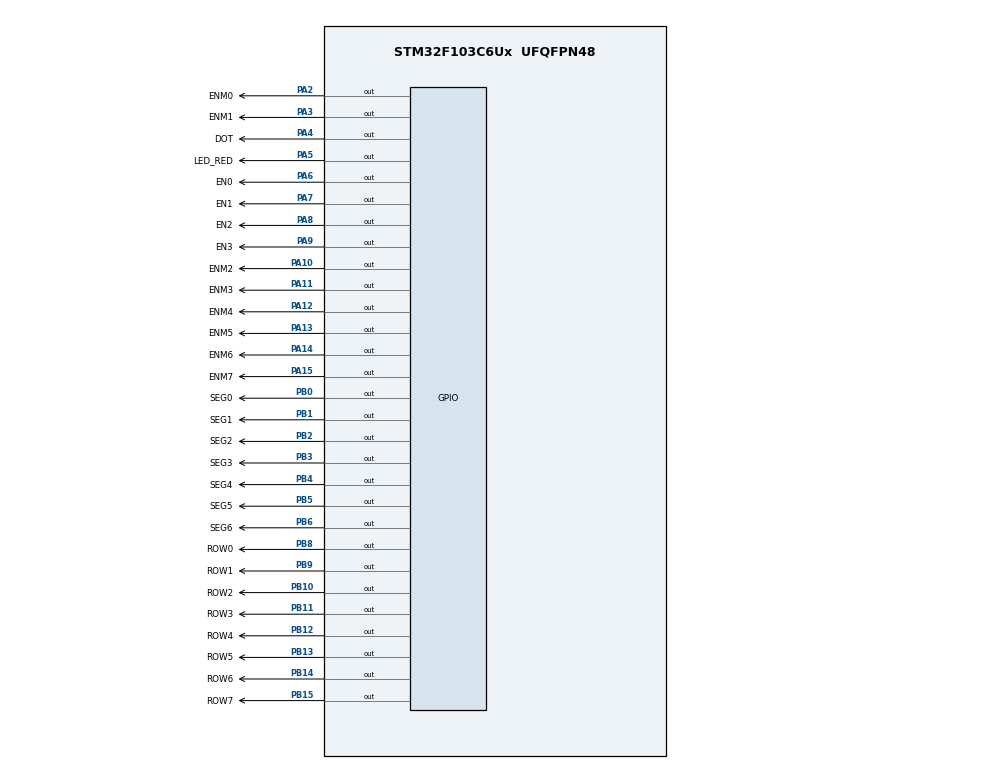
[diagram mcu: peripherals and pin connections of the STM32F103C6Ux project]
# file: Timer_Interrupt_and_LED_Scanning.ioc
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Mcu.Family=STM32F1
Mcu.Name=STM32F103C6Ux
Mcu.Package=UFQFPN48
NVIC.PriorityGroup=NVIC_PRIORITYGROUP_4
NVIC.TIM2_IRQn=true\:0\:0\:false\:false\:true\:true\:true
PA10.GPIO_Label=ENM2
PA10.Signal=GPIO_Output
PA11.GPIO_Label=ENM3
PA11.Signal=GPIO_Output
PA12.GPIO_Label=ENM4
PA12.Signal=GPIO_Output
PA13.GPIO_Label=ENM5
PA13.Signal=GPIO_Output
PA14.GPIO_Label=ENM6
PA14.Signal=GPIO_Output
PA15.GPIO_Label=ENM7
PA15.Signal=GPIO_Output
PA2.GPIO_Label=ENM0
PA2.Signal=GPIO_Output
PA3.GPIO_Label=ENM1
PA3.Signal=GPIO_Output
PA4.GPIO_Label=DOT
PA4.Signal=GPIO_Output
PA5.GPIO_Label=LED_RED
PA5.Signal=GPIO_Output
PA6.GPIO_Label=EN0
PA6.Signal=GPIO_Output
PA7.GPIO_Label=EN1
PA7.Signal=GPIO_Output
PA8.GPIO_Label=EN2
PA8.Signal=GPIO_Output
PA9.GPIO_Label=EN3
PA9.Signal=GPIO_Output
PB0.GPIO_Label=SEG0
PB0.Signal=GPIO_Output
PB1.GPIO_Label=SEG1
PB1.Signal=GPIO_Output
PB10.GPIO_Label=ROW2
PB10.Signal=GPIO_Output
PB11.GPIO_Label=ROW3
PB11.Signal=GPIO_Output
PB12.GPIO_Label=ROW4
PB12.Signal=GPIO_Output
PB13.GPIO_Label=ROW5
PB13.Signal=GPIO_Output
PB14.GPIO_Label=ROW6
PB14.Signal=GPIO_Output
PB15.GPIO_Label=ROW7
PB15.Signal=GPIO_Output
PB2.GPIO_Label=SEG2
PB2.Signal=GPIO_Output
PB3.GPIO_Label=SEG3
PB3.Signal=GPIO_Output
PB4.GPIO_Label=SEG4
PB4.Signal=GPIO_Output
PB5.GPIO_Label=SEG5
PB5.Signal=GPIO_Output
PB6.GPIO_Label=SEG6
PB6.Signal=GPIO_Output
PB8.GPIO_Label=ROW0
PB8.Signal=GPIO_Output
PB9.GPIO_Label=ROW1
PB9.Signal=GPIO_Output
ProjectManager.HeapSize=0x200
ProjectManager.StackSize=0x400
ProjectManager.TargetToolchain=STM32CubeIDE
RCC.APB1Freq_Value=8000000
RCC.APB2Freq_Value=8000000
TIM2.Period=9
TIM2.Prescaler=7999
VP_SYS_VS_ND.Mode=No_Debug
VP_TIM2_VS_ClockSourceINT.Mode=Internal
board=custom

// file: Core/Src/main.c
/* USER CODE BEGIN Header */
/**
  ******************************************************************************
  * @file           : main.c
  * @brief          : Main program body
  ******************************************************************************
  * @attention
  *
  * <h2><center>&copy; Copyright (c) 2024 STMicroelectronics.
  * All rights reserved.</center></h2>
  *
  * This software component is licensed by ST under BSD 3-Clause license,
  * the "License"; You may not use this file except in compliance with the
  * License. You may obtain a copy of the License at:
  *                        opensource.org/licenses/BSD-3-Clause
  *
  ******************************************************************************
  */
/* USER CODE END Header */
#include "main.h"

/* USER CODE BEGIN Includes */
#include "software_timer.h"
/* USER CODE END Includes */

TIM_HandleTypeDef htim2;

void SystemClock_Config(void);
static void MX_GPIO_Init(void);
static void MX_TIM2_Init(void);

/* USER CODE BEGIN 0 */
const int MAX_LED = 4;
int index_led = 0;
int led_buffer[4] = {1, 2, 3, 4};
int hour = 15, minute = 8, second = 50;

void display7SEG(int num) {
  switch (num) {
  case 0:
      HAL_GPIO_WritePin(SEG0_GPIO_Port, SEG0_Pin, 0);
      HAL_GPIO_WritePin(SEG1_GPIO_Port, SEG1_Pin, 0);
      HAL_GPIO_WritePin(SEG2_GPIO_Port, SEG2_Pin, 0);
      HAL_GPIO_WritePin(SEG3_GPIO_Port, SEG3_Pin, 0);
      HAL_GPIO_WritePin(SEG4_GPIO_Port, SEG4_Pin, 0);
      HAL_GPIO_WritePin(SEG5_GPIO_Port, SEG5_Pin, 0);
      HAL_GPIO_WritePin(SEG6_GPIO_Port, SEG6_Pin, 1);
      break;
  case 1:
      HAL_GPIO_WritePin(SEG0_GPIO_Port, SEG0_Pin, 1);
      HAL_GPIO_WritePin(SEG1_GPIO_Port, SEG1_Pin, 0);
      HAL_GPIO_WritePin(SEG2_GPIO_Port, SEG2_Pin, 0);
      HAL_GPIO_WritePin(SEG3_GPIO_Port, SEG3_Pin, 1);
      HAL_GPIO_WritePin(SEG4_GPIO_Port, SEG4_Pin, 1);
      HAL_GPIO_WritePin(SEG5_GPIO_Port, SEG5_Pin, 1);
      HAL_GPIO_WritePin(SEG6_GPIO_Port, SEG6_Pin, 1);
      break;
  case 2:
      HAL_GPIO_WritePin(SEG0_GPIO_Port, SEG0_Pin, 0);
      HAL_GPIO_WritePin(SEG1_GPIO_Port, SEG1_Pin, 0);
      HAL_GPIO_WritePin(SEG2_GPIO_Port, SEG2_Pin, 1);
      HAL_GPIO_WritePin(SEG3_GPIO_Port, SEG3_Pin, 0);
      HAL_GPIO_WritePin(SEG4_GPIO_Port, SEG4_Pin, 0);
      HAL_GPIO_WritePin(SEG5_GPIO_Port, SEG5_Pin, 1);
      HAL_GPIO_WritePin(SEG6_GPIO_Port, SEG6_Pin, 0);
      break;
  case 3:
      HAL_GPIO_WritePin(SEG0_GPIO_Port, SEG0_Pin, 0);
      HAL_GPIO_WritePin(SEG1_GPIO_Port, SEG1_Pin, 0);
      HAL_GPIO_WritePin(SEG2_GPIO_Port, SEG2_Pin, 0);
      HAL_GPIO_WritePin(SEG3_GPIO_Port, SEG3_Pin, 0);
      HAL_GPIO_WritePin(SEG4_GPIO_Port, SEG4_Pin, 1);
      HAL_GPIO_WritePin(SEG5_GPIO_Port, SEG5_Pin, 1);
      HAL_GPIO_WritePin(SEG6_GPIO_Port, SEG6_Pin, 0);
      break;
  case 4:
      HAL_GPIO_WritePin(SEG0_GPIO_Port, SEG0_Pin, 1);
      HAL_GPIO_WritePin(SEG1_GPIO_Port, SEG1_Pin, 0);
      HAL_GPIO_WritePin(SEG2_GPIO_Port, SEG2_Pin, 0);
      HAL_GPIO_WritePin(SEG3_GPIO_Port, SEG3_Pin, 1);
      HAL_GPIO_WritePin(SEG4_GPIO_Port, SEG4_Pin, 1);
      HAL_GPIO_WritePin(SEG5_GPIO_Port, SEG5_Pin, 0);
      HAL_GPIO_WritePin(SEG6_GPIO_Port, SEG6_Pin, 0);
      break;
  case 5:
      HAL_GPIO_WritePin(SEG0_GPIO_Port, SEG0_Pin, 0);
      HAL_GPIO_WritePin(SEG1_GPIO_Port, SEG1_Pin, 1);
      HAL_GPIO_WritePin(SEG2_GPIO_Port, SEG2_Pin, 0);
      HAL_GPIO_WritePin(SEG3_GPIO_Port, SEG3_Pin, 0);
      HAL_GPIO_WritePin(SEG4_GPIO_Port, SEG4_Pin, 1);
      HAL_GPIO_WritePin(SEG5_GPIO_Port, SEG5_Pin, 0);
      HAL_GPIO_WritePin(SEG6_GPIO_Port, SEG6_Pin, 0);
      break;
  case 6:
      HAL_GPIO_WritePin(SEG0_GPIO_Port, SEG0_Pin, 0);
      HAL_GPIO_WritePin(SEG1_GPIO_Port, SEG1_Pin, 1);
      HAL_GPIO_WritePin(SEG2_GPIO_Port, SEG2_Pin, 0);
      HAL_GPIO_WritePin(SEG3_GPIO_Port, SEG3_Pin, 0);
      HAL_GPIO_WritePin(SEG4_GPIO_Port, SEG4_Pin, 0);
      HAL_GPIO_WritePin(SEG5_GPIO_Port, SEG5_Pin, 0);
      HAL_GPIO_WritePin(SEG6_GPIO_Port, SEG6_Pin, 0);
      break;
  case 7:
      HAL_GPIO_WritePin(SEG0_GPIO_Port, SEG0_Pin, 0);
      HAL_GPIO_WritePin(SEG1_GPIO_Port, SEG1_Pin, 0);
      HAL_GPIO_WritePin(SEG2_GPIO_Port, SEG2_Pin, 0);
      HAL_GPIO_WritePin(SEG3_GPIO_Port, SEG3_Pin, 1);
      HAL_GPIO_WritePin(SEG4_GPIO_Port, SEG4_Pin, 1);
      HAL_GPIO_WritePin(SEG5_GPIO_Port, SEG5_Pin, 1);
      HAL_GPIO_WritePin(SEG6_GPIO_Port, SEG6_Pin, 1);
      break;
  case 8:
      HAL_GPIO_WritePin(SEG0_GPIO_Port, SEG0_Pin, 0);
      HAL_GPIO_WritePin(SEG1_GPIO_Port, SEG1_Pin, 0);
      HAL_GPIO_WritePin(SEG2_GPIO_Port, SEG2_Pin, 0);
      HAL_GPIO_WritePin(SEG3_GPIO_Port, SEG3_Pin, 0);
      HAL_GPIO_WritePin(SEG4_GPIO_Port, SEG4_Pin, 0);
      HAL_GPIO_WritePin(SEG5_GPIO_Port, SEG5_Pin, 0);
      HAL_GPIO_WritePin(SEG6_GPIO_Port, SEG6_Pin, 0);
      break;
  case 9:
      HAL_GPIO_WritePin(SEG0_GPIO_Port, SEG0_Pin, 0);
      HAL_GPIO_WritePin(SEG1_GPIO_Port, SEG1_Pin, 0);
      HAL_GPIO_WritePin(SEG2_GPIO_Port, SEG2_Pin, 0);
      HAL_GPIO_WritePin(SEG3_GPIO_Port, SEG3_Pin, 0);
      HAL_GPIO_WritePin(SEG4_GPIO_Port, SEG4_Pin, 1);
      HAL_GPIO_WritePin(SEG5_GPIO_Port, SEG5_Pin, 0);
      HAL_GPIO_WritePin(SEG6_GPIO_Port, SEG6_Pin, 0);
      break;
  }
}

void update7SEG(int index){
    switch (index){
        case 0:
            HAL_GPIO_WritePin(GPIOA, EN1_Pin | EN2_Pin| EN3_Pin, 1);
            HAL_GPIO_WritePin(EN0_GPIO_Port, EN0_Pin, 0);
            display7SEG(led_buffer[0]);
            break;
        case 1:
            HAL_GPIO_WritePin(GPIOA, EN0_Pin | EN2_Pin | EN3_Pin, 1);
            HAL_GPIO_WritePin(EN1_GPIO_Port, EN1_Pin, 0);
            display7SEG(led_buffer[1]);
            break;
        case 2:
            HAL_GPIO_WritePin(GPIOA, EN0_Pin | EN1_Pin | EN3_Pin, 1);
            HAL_GPIO_WritePin(EN2_GPIO_Port, EN2_Pin, 0);
            display7SEG(led_buffer[2]);
            break;
        case 3:
            HAL_GPIO_WritePin(GPIOA, EN0_Pin | EN1_Pin | EN2_Pin, 1);
            HAL_GPIO_WritePin(EN3_GPIO_Port, EN3_Pin, 0);
            display7SEG(led_buffer[3]);
            break;
        default:
            break;
    }
}

void updateClockBuffer() {
    led_buffer[0] = hour / 10;
    led_buffer[1] = hour % 10;
    led_buffer[2] = minute / 10;
    led_buffer[3] = minute % 10;
}

const int MAX_LED_MATRIX = 8;
int index_led_matrix = 0;
uint8_t matrix_buffer[8] = {0xE7, 0xC3, 0x99, 0x99, 0x81, 0x81, 0x99, 0x99};

void displayLEDMatrix(uint8_t index){
	HAL_GPIO_WritePin(ENM0_GPIO_Port, ENM0_Pin, (index >> 0) & 1);
	HAL_GPIO_WritePin(ENM1_GPIO_Port, ENM1_Pin, (index >> 1) & 1);
	HAL_GPIO_WritePin(ENM2_GPIO_Port, ENM2_Pin, (index >> 2) & 1);
	HAL_GPIO_WritePin(ENM3_GPIO_Port, ENM3_Pin, (index >> 3) & 1);
	HAL_GPIO_WritePin(ENM4_GPIO_Port, ENM4_Pin, (index >> 4) & 1);
	HAL_GPIO_WritePin(ENM5_GPIO_Port, ENM5_Pin, (index >> 5) & 1);
	HAL_GPIO_WritePin(ENM6_GPIO_Port, ENM6_Pin, (index >> 6) & 1);
	HAL_GPIO_WritePin(ENM7_GPIO_Port, ENM7_Pin, (index >> 7) & 1);
}

void updateLEDMatrix(int index){
    switch (index){
	case 0:
		HAL_GPIO_WritePin(GPIOB, ROW1_Pin | ROW2_Pin | ROW3_Pin | ROW4_Pin | ROW5_Pin | ROW6_Pin | ROW7_Pin, 1);
		HAL_GPIO_WritePin(GPIOB, ROW0_Pin, 0);
		displayLEDMatrix(matrix_buffer[index]);
		break;
	case 1:
		HAL_GPIO_WritePin(GPIOB, ROW0_Pin | ROW2_Pin | ROW3_Pin | ROW4_Pin | ROW5_Pin | ROW6_Pin | ROW7_Pin, 1);
		HAL_GPIO_WritePin(GPIOB, ROW1_Pin, 0);
		displayLEDMatrix(matrix_buffer[index]);
		break;
	case 2:
		HAL_GPIO_WritePin(GPIOB, ROW0_Pin | ROW1_Pin | ROW3_Pin | ROW4_Pin | ROW5_Pin | ROW6_Pin | ROW7_Pin, 1);
		HAL_GPIO_WritePin(GPIOB, ROW2_Pin, 0);
		displayLEDMatrix(matrix_buffer[index]);
		break;
	case 3:
		HAL_GPIO_WritePin(GPIOB, ROW0_Pin | ROW1_Pin | ROW2_Pin | ROW4_Pin | ROW5_Pin | ROW6_Pin | ROW7_Pin, 1);
		HAL_GPIO_WritePin(GPIOB, ROW3_Pin, 0);
		displayLEDMatrix(matrix_buffer[index]);
		break;
	case 4:
		HAL_GPIO_WritePin(GPIOB, ROW0_Pin | ROW1_Pin | ROW2_Pin | ROW3_Pin | ROW5_Pin | ROW6_Pin | ROW7_Pin, 1);
		HAL_GPIO_WritePin(GPIOB, ROW4_Pin, 0);
		displayLEDMatrix(matrix_buffer[index]);
		break;
	case 5:
		HAL_GPIO_WritePin(GPIOB, ROW0_Pin | ROW1_Pin | ROW2_Pin | ROW3_Pin | ROW4_Pin | ROW6_Pin | ROW7_Pin, 1);
		HAL_GPIO_WritePin(GPIOB, ROW5_Pin, 0);
		displayLEDMatrix(matrix_buffer[index]);
		break;
	case 6:
		HAL_GPIO_WritePin(GPIOB, ROW0_Pin | ROW1_Pin | ROW2_Pin | ROW3_Pin | ROW4_Pin | ROW5_Pin | ROW7_Pin, 1);
		HAL_GPIO_WritePin(GPIOB, ROW6_Pin, 0);
		displayLEDMatrix(matrix_buffer[index]);
		break;
	case 7:
		HAL_GPIO_WritePin(GPIOB, ROW0_Pin | ROW1_Pin | ROW2_Pin | ROW3_Pin | ROW4_Pin | ROW5_Pin | ROW6_Pin, 1);
		HAL_GPIO_WritePin(GPIOB, ROW7_Pin, 0);
		displayLEDMatrix(matrix_buffer[index]);
		break;
	default:
		break;
    }
}

void shiftleftLEDMatrix() {
	for (int i = 0; i < MAX_LED_MATRIX; ++i) {
		matrix_buffer[i] = (matrix_buffer[i] >> 1) | ((matrix_buffer[i] & 1) << 7);
	}
}
/* USER CODE END 0 */

int main(void)
{

  /* MCU Configuration--------------------------------------------------------*/

  /* Reset of all peripherals, Initializes the Flash interface and the Systick. */
  HAL_Init();

  /* Configure the system clock */
  SystemClock_Config();

  /* Initialize all configured peripherals */
  MX_GPIO_Init();
  MX_TIM2_Init();
  /* USER CODE BEGIN 2 */
  HAL_TIM_Base_Start_IT(&htim2);
  /* USER CODE END 2 */

  /* Infinite loop */
  /* USER CODE BEGIN WHILE */
  setTimer(0, 1000);
  setTimer(1, 250);
  HAL_GPIO_WritePin(GPIOA, DOT_Pin | LED_RED_Pin, 1);
  setTimer(2, 10);
  while (1)
  {
      if (isTimerExpired(0) == 1) {
          setTimer(0, 1000);
          HAL_GPIO_TogglePin(LED_RED_GPIO_Port, LED_RED_Pin);
          HAL_GPIO_TogglePin(GPIOA, LED_RED_Pin | DOT_Pin);
          ++second;
          if (second >= 60) {
              second = 0;
              ++minute;
          }

          if (minute >= 60) {
              minute = 0;
              ++hour;
          }
          if (hour >= 24) {
              hour = 0;
          }
          updateClockBuffer();
      }

      if (isTimerExpired(1) == 1) {
          setTimer(1, 250);
          update7SEG(index_led);
          ++index_led;
          if (index_led > 3) {
              index_led = 0;
          }
      }

      if (isTimerExpired(2) == 1) {
          setTimer(2, 10);
          updateLEDMatrix(index_led_matrix);
          ++index_led_matrix;
          if (index_led_matrix >= MAX_LED_MATRIX) {
              index_led_matrix = 0;
              shiftleftLEDMatrix();
          }
      }
    /* USER CODE END WHILE */

  }
}

void SystemClock_Config(void)
{
  RCC_OscInitTypeDef RCC_OscInitStruct = {0};
  RCC_ClkInitTypeDef RCC_ClkInitStruct = {0};

  /** Initializes the RCC Oscillators according to the specified parameters
  * in the RCC_OscInitTypeDef structure.
  */
  RCC_OscInitStruct.OscillatorType = RCC_OSCILLATORTYPE_HSI;
  RCC_OscInitStruct.HSIState = RCC_HSI_ON;
  RCC_OscInitStruct.HSICalibrationValue = RCC_HSICALIBRATION_DEFAULT;
  RCC_OscInitStruct.PLL.PLLState = RCC_PLL_NONE;
  if (HAL_RCC_OscConfig(&RCC_OscInitStruct) != HAL_OK)
  {
    Error_Handler();
  }
  /** Initializes the CPU, AHB and APB buses clocks
  */
  RCC_ClkInitStruct.ClockType = RCC_CLOCKTYPE_HCLK|RCC_CLOCKTYPE_SYSCLK
                              |RCC_CLOCKTYPE_PCLK1|RCC_CLOCKTYPE_PCLK2;
  RCC_ClkInitStruct.SYSCLKSource = RCC_SYSCLKSOURCE_HSI;
  RCC_ClkInitStruct.AHBCLKDivider = RCC_SYSCLK_DIV1;
  RCC_ClkInitStruct.APB1CLKDivider = RCC_HCLK_DIV1;
  RCC_ClkInitStruct.APB2CLKDivider = RCC_HCLK_DIV1;

  if (HAL_RCC_ClockConfig(&RCC_ClkInitStruct, FLASH_LATENCY_0) != HAL_OK)
  {
    Error_Handler();
  }
}

static void MX_TIM2_Init(void)
{

  TIM_ClockConfigTypeDef sClockSourceConfig = {0};
  TIM_MasterConfigTypeDef sMasterConfig = {0};

  htim2.Instance = TIM2;
  htim2.Init.Prescaler = 7999;
  htim2.Init.CounterMode = TIM_COUNTERMODE_UP;
  htim2.Init.Period = 9;
  htim2.Init.ClockDivision = TIM_CLOCKDIVISION_DIV1;
  htim2.Init.AutoReloadPreload = TIM_AUTORELOAD_PRELOAD_DISABLE;
  if (HAL_TIM_Base_Init(&htim2) != HAL_OK)
  {
    Error_Handler();
  }
  sClockSourceConfig.ClockSource = TIM_CLOCKSOURCE_INTERNAL;
  if (HAL_TIM_ConfigClockSource(&htim2, &sClockSourceConfig) != HAL_OK)
  {
    Error_Handler();
  }
  sMasterConfig.MasterOutputTrigger = TIM_TRGO_RESET;
  sMasterConfig.MasterSlaveMode = TIM_MASTERSLAVEMODE_DISABLE;
  if (HAL_TIMEx_MasterConfigSynchronization(&htim2, &sMasterConfig) != HAL_OK)
  {
    Error_Handler();
  }

}

static void MX_GPIO_Init(void)
{
  GPIO_InitTypeDef GPIO_InitStruct = {0};

  /* GPIO Ports Clock Enable */
  __HAL_RCC_GPIOA_CLK_ENABLE();
  __HAL_RCC_GPIOB_CLK_ENABLE();

  /*Configure GPIO pin Output Level */
  HAL_GPIO_WritePin(GPIOA, ENM0_Pin|ENM1_Pin|DOT_Pin|LED_RED_Pin
                          |EN0_Pin|EN1_Pin|EN2_Pin|EN3_Pin
                          |ENM2_Pin|ENM3_Pin|ENM4_Pin|ENM5_Pin
                          |ENM6_Pin|ENM7_Pin, GPIO_PIN_RESET);

  /*Configure GPIO pin Output Level */
  HAL_GPIO_WritePin(GPIOB, SEG0_Pin|SEG1_Pin|SEG2_Pin|ROW2_Pin
                          |ROW3_Pin|ROW4_Pin|ROW5_Pin|ROW6_Pin
                          |ROW7_Pin|SEG3_Pin|SEG4_Pin|SEG5_Pin
                          |SEG6_Pin|ROW0_Pin|ROW1_Pin, GPIO_PIN_RESET);

  /*Configure GPIO pins : ENM0_Pin ENM1_Pin DOT_Pin LED_RED_Pin
                           EN0_Pin EN1_Pin EN2_Pin EN3_Pin
                           ENM2_Pin ENM3_Pin ENM4_Pin ENM5_Pin
                           ENM6_Pin ENM7_Pin */
  GPIO_InitStruct.Pin = ENM0_Pin|ENM1_Pin|DOT_Pin|LED_RED_Pin
                          |EN0_Pin|EN1_Pin|EN2_Pin|EN3_Pin
                          |ENM2_Pin|ENM3_Pin|ENM4_Pin|ENM5_Pin
                          |ENM6_Pin|ENM7_Pin;
  GPIO_InitStruct.Mode = GPIO_MODE_OUTPUT_PP;
  GPIO_InitStruct.Pull = GPIO_NOPULL;
  GPIO_InitStruct.Speed = GPIO_SPEED_FREQ_LOW;
  HAL_GPIO_Init(GPIOA, &GPIO_InitStruct);

  /*Configure GPIO pins : SEG0_Pin SEG1_Pin SEG2_Pin ROW2_Pin
                           ROW3_Pin ROW4_Pin ROW5_Pin ROW6_Pin
                           ROW7_Pin SEG3_Pin SEG4_Pin SEG5_Pin
                           SEG6_Pin ROW0_Pin ROW1_Pin */
  GPIO_InitStruct.Pin = SEG0_Pin|SEG1_Pin|SEG2_Pin|ROW2_Pin
                          |ROW3_Pin|ROW4_Pin|ROW5_Pin|ROW6_Pin
                          |ROW7_Pin|SEG3_Pin|SEG4_Pin|SEG5_Pin
                          |SEG6_Pin|ROW0_Pin|ROW1_Pin;
  GPIO_InitStruct.Mode = GPIO_MODE_OUTPUT_PP;
  GPIO_InitStruct.Pull = GPIO_NOPULL;
  GPIO_InitStruct.Speed = GPIO_SPEED_FREQ_LOW;
  HAL_GPIO_Init(GPIOB, &GPIO_InitStruct);

}

/* USER CODE BEGIN 4 */
void HAL_TIM_PeriodElapsedCallback(TIM_HandleTypeDef * htim) {
	timerRun();
}
/* USER CODE END 4 */

void Error_Handler(void)
{
  __disable_irq();
  while (1)
  {
  }
}

/************************ (C) COPYRIGHT STMicroelectronics *****END OF FILE****/
